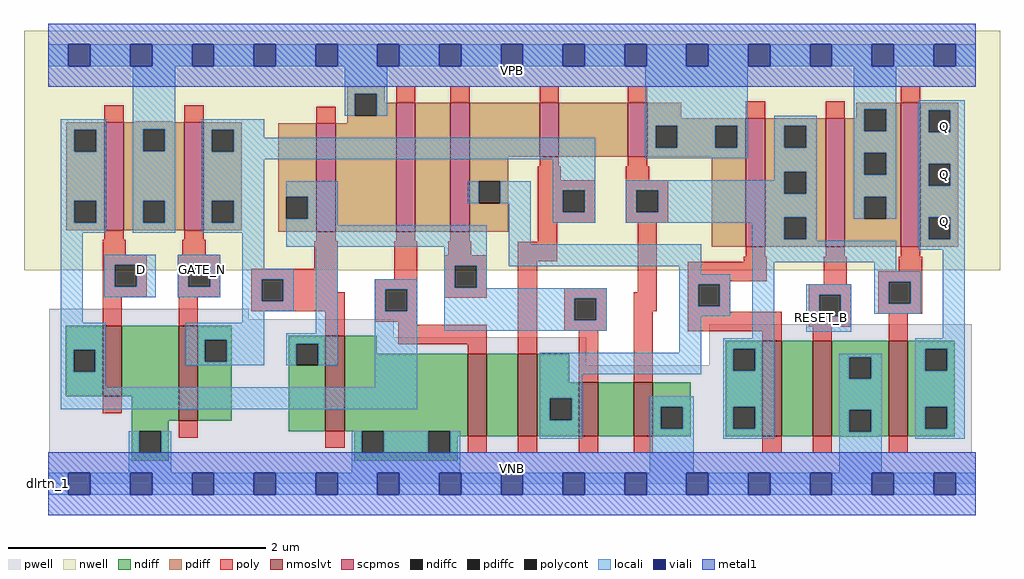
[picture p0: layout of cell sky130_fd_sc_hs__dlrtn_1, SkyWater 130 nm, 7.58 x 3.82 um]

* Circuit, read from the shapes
.subckt sky130_fd_sc_hs__dlrtn_1 D GATE_N RESET_B VGND VNB VPB VPWR Q
XM1 VGND D n1 VNB sky130_fd_pr__nfet_01v8_lvt w=0.55 l=0.15
XM2 n2 GATE_N VGND VNB sky130_fd_pr__nfet_01v8_lvt w=0.74 l=0.15
XM3 VGND n2 n3 VNB sky130_fd_pr__nfet_01v8_lvt w=0.74 l=0.15
XM4 n4 n1 VGND VNB sky130_fd_pr__nfet_01v8_lvt w=0.64 l=0.15
XM5 n5 n2 n4 VNB sky130_fd_pr__nfet_01v8_lvt w=0.64 l=0.15
XM6 n6 n3 n5 VNB sky130_fd_pr__nfet_01v8_lvt w=0.42 l=0.15
XM7 VGND n7 n6 VNB sky130_fd_pr__nfet_01v8_lvt w=0.42 l=0.15
XM8 n8 n5 n7 VNB sky130_fd_pr__nfet_01v8_lvt w=0.74 l=0.15
XM9 VGND RESET_B n8 VNB sky130_fd_pr__nfet_01v8_lvt w=0.74 l=0.15
XM10 Q n7 VGND VNB sky130_fd_pr__nfet_01v8_lvt w=0.74 l=0.15
XM11 VPWR D n1 VPB sky130_fd_pr__pfet_01v8 w=0.84 l=0.15
XM12 n2 GATE_N VPWR VPB sky130_fd_pr__pfet_01v8 w=0.84 l=0.15
XM13 VPWR n2 n3 VPB sky130_fd_pr__pfet_01v8 w=0.84 l=0.15
XM14 n9 n1 VPWR VPB sky130_fd_pr__pfet_01v8 w=1 l=0.15
XM15 n5 n3 n9 VPB sky130_fd_pr__pfet_01v8 w=1 l=0.15
XM16 n10 n2 n5 VPB sky130_fd_pr__pfet_01v8 w=0.42 l=0.15
XM17 VPWR n7 n10 VPB sky130_fd_pr__pfet_01v8 w=0.42 l=0.15
XM18 n7 n5 VPWR VPB sky130_fd_pr__pfet_01v8 w=1 l=0.15
XM19 VPWR RESET_B n7 VPB sky130_fd_pr__pfet_01v8 w=1 l=0.15
XM20 Q n7 VPWR VPB sky130_fd_pr__pfet_01v8 w=1.12 l=0.15
.ends

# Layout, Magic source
magic
tech sky130A
magscale 1 2
<< nwell >>
rect -38 332 1478 704
<< pwell >>
rect 1 256 311 272
rect 1 228 536 256
rect 1 184 835 228
rect 1026 184 1434 248
rect 1 49 1434 184
rect 0 0 1440 49
<< scpmos >>
rect 87 394 117 562
rect 211 394 241 562
rect 416 392 446 560
rect 540 392 570 592
rect 624 392 654 592
rect 763 508 793 592
rect 900 508 930 592
rect 1083 368 1113 568
rect 1207 368 1237 568
rect 1324 368 1354 592
<< nmoslvt >>
rect 84 136 114 246
rect 202 98 232 246
rect 430 82 460 230
rect 651 74 681 202
rect 729 74 759 202
rect 824 74 854 158
rect 909 74 939 158
rect 1109 74 1139 222
rect 1187 74 1217 222
rect 1305 74 1335 222
<< ndiff >>
rect 27 208 84 246
rect 27 174 39 208
rect 73 174 84 208
rect 27 136 84 174
rect 114 136 202 246
rect 129 98 202 136
rect 232 224 285 246
rect 232 190 243 224
rect 277 190 285 224
rect 232 98 285 190
rect 373 218 430 230
rect 373 184 385 218
rect 419 184 430 218
rect 129 82 187 98
rect 129 48 141 82
rect 175 48 187 82
rect 373 82 430 184
rect 460 202 510 230
rect 460 82 651 202
rect 129 36 187 48
rect 475 48 487 82
rect 521 48 590 82
rect 624 74 651 82
rect 681 74 729 202
rect 759 158 809 202
rect 1052 210 1109 222
rect 1052 176 1064 210
rect 1098 176 1109 210
rect 759 133 824 158
rect 759 99 779 133
rect 813 99 824 133
rect 759 74 824 99
rect 854 74 909 158
rect 939 120 998 158
rect 939 86 951 120
rect 985 86 998 120
rect 939 74 998 86
rect 1052 120 1109 176
rect 1052 86 1064 120
rect 1098 86 1109 120
rect 1052 74 1109 86
rect 1139 74 1187 222
rect 1217 197 1305 222
rect 1217 163 1244 197
rect 1278 163 1305 197
rect 1217 115 1305 163
rect 1217 81 1244 115
rect 1278 81 1305 115
rect 1217 74 1305 81
rect 1335 210 1408 222
rect 1335 176 1362 210
rect 1396 176 1408 210
rect 1335 120 1408 176
rect 1335 86 1362 120
rect 1396 86 1408 120
rect 1335 74 1408 86
rect 624 48 636 74
rect 1232 73 1290 74
rect 475 36 636 48
<< pdiff >>
rect 464 606 522 618
rect 135 562 193 563
rect 28 550 87 562
rect 28 516 40 550
rect 74 516 87 550
rect 28 440 87 516
rect 28 406 40 440
rect 74 406 87 440
rect 28 394 87 406
rect 117 551 211 562
rect 117 517 147 551
rect 181 517 211 551
rect 117 440 211 517
rect 117 406 147 440
rect 181 406 211 440
rect 117 394 211 406
rect 241 550 300 562
rect 464 572 476 606
rect 510 592 522 606
rect 510 572 540 592
rect 464 560 540 572
rect 241 516 254 550
rect 288 516 300 550
rect 241 440 300 516
rect 241 406 254 440
rect 288 406 300 440
rect 241 394 300 406
rect 357 446 416 560
rect 357 412 369 446
rect 403 412 416 446
rect 357 392 416 412
rect 446 392 540 560
rect 570 392 624 592
rect 654 508 763 592
rect 793 508 900 592
rect 930 568 983 592
rect 1255 582 1324 592
rect 1255 568 1267 582
rect 930 556 1083 568
rect 930 522 943 556
rect 977 522 1036 556
rect 1070 522 1083 556
rect 930 508 1083 522
rect 654 470 714 508
rect 654 436 668 470
rect 702 436 714 470
rect 654 392 714 436
rect 1030 368 1083 508
rect 1113 556 1207 568
rect 1113 522 1143 556
rect 1177 522 1207 556
rect 1113 485 1207 522
rect 1113 451 1143 485
rect 1177 451 1207 485
rect 1113 414 1207 451
rect 1113 380 1143 414
rect 1177 380 1207 414
rect 1113 368 1207 380
rect 1237 548 1267 568
rect 1301 548 1324 582
rect 1237 514 1324 548
rect 1237 480 1267 514
rect 1301 480 1324 514
rect 1237 446 1324 480
rect 1237 412 1267 446
rect 1301 412 1324 446
rect 1237 368 1324 412
rect 1354 580 1413 592
rect 1354 546 1367 580
rect 1401 546 1413 580
rect 1354 497 1413 546
rect 1354 463 1367 497
rect 1401 463 1413 497
rect 1354 414 1413 463
rect 1354 380 1367 414
rect 1401 380 1413 414
rect 1354 368 1413 380
<< ndiffc >>
rect 39 174 73 208
rect 243 190 277 224
rect 385 184 419 218
rect 141 48 175 82
rect 487 48 521 82
rect 590 48 624 82
rect 1064 176 1098 210
rect 779 99 813 133
rect 951 86 985 120
rect 1064 86 1098 120
rect 1244 163 1278 197
rect 1244 81 1278 115
rect 1362 176 1396 210
rect 1362 86 1396 120
<< pdiffc >>
rect 40 516 74 550
rect 40 406 74 440
rect 147 517 181 551
rect 147 406 181 440
rect 476 572 510 606
rect 254 516 288 550
rect 254 406 288 440
rect 369 412 403 446
rect 943 522 977 556
rect 1036 522 1070 556
rect 668 436 702 470
rect 1143 522 1177 556
rect 1143 451 1177 485
rect 1143 380 1177 414
rect 1267 548 1301 582
rect 1267 480 1301 514
rect 1267 412 1301 446
rect 1367 546 1401 580
rect 1367 463 1401 497
rect 1367 380 1401 414
<< poly >>
rect 87 562 117 588
rect 211 562 241 588
rect 416 560 446 586
rect 540 592 570 618
rect 624 592 654 618
rect 763 592 793 618
rect 900 592 930 618
rect 87 379 117 394
rect 211 379 241 394
rect 1083 568 1113 594
rect 1207 568 1237 594
rect 1324 592 1354 618
rect 763 493 793 508
rect 900 493 930 508
rect 760 472 796 493
rect 897 472 933 493
rect 760 456 849 472
rect 760 422 799 456
rect 833 422 849 456
rect 760 406 849 422
rect 897 456 963 472
rect 897 422 913 456
rect 947 422 963 456
rect 897 406 963 422
rect 84 356 120 379
rect 208 356 244 379
rect 416 377 446 392
rect 540 377 570 392
rect 624 377 654 392
rect 84 340 153 356
rect 84 306 103 340
rect 137 306 153 340
rect 84 290 153 306
rect 201 340 267 356
rect 201 306 217 340
rect 251 306 267 340
rect 413 334 449 377
rect 201 290 267 306
rect 315 318 449 334
rect 537 318 573 377
rect 621 355 657 377
rect 760 376 790 406
rect 84 246 114 290
rect 202 246 232 290
rect 315 284 331 318
rect 365 298 449 318
rect 507 302 573 318
rect 365 284 460 298
rect 315 268 460 284
rect 84 110 114 136
rect 430 230 460 268
rect 507 268 523 302
rect 557 268 573 302
rect 615 339 681 355
rect 615 305 631 339
rect 665 305 681 339
rect 615 289 681 305
rect 729 346 790 376
rect 507 252 573 268
rect 543 247 573 252
rect 202 72 232 98
rect 543 217 681 247
rect 651 202 681 217
rect 729 202 759 346
rect 801 288 867 304
rect 915 298 945 406
rect 1083 353 1113 368
rect 1207 353 1237 368
rect 1324 353 1354 368
rect 1080 345 1116 353
rect 801 254 817 288
rect 851 254 867 288
rect 801 238 867 254
rect 909 268 945 298
rect 993 315 1116 345
rect 993 310 1059 315
rect 1204 310 1240 353
rect 1321 330 1357 353
rect 1289 314 1357 330
rect 993 276 1009 310
rect 1043 276 1059 310
rect 430 56 460 82
rect 824 158 854 238
rect 909 158 939 268
rect 993 267 1059 276
rect 1181 294 1247 310
rect 993 237 1139 267
rect 1181 260 1197 294
rect 1231 260 1247 294
rect 1289 280 1305 314
rect 1339 280 1357 314
rect 1289 264 1357 280
rect 1181 244 1247 260
rect 1109 222 1139 237
rect 1187 222 1217 244
rect 1305 222 1335 264
rect 651 48 681 74
rect 729 48 759 74
rect 824 48 854 74
rect 909 48 939 74
rect 1109 48 1139 74
rect 1187 48 1217 74
rect 1305 48 1335 74
<< polycont >>
rect 799 422 833 456
rect 913 422 947 456
rect 103 306 137 340
rect 217 306 251 340
rect 331 284 365 318
rect 523 268 557 302
rect 631 305 665 339
rect 817 254 851 288
rect 1009 276 1043 310
rect 1197 260 1231 294
rect 1305 280 1339 314
<< locali >>
rect 0 649 31 683
rect 65 649 127 683
rect 161 649 223 683
rect 257 649 319 683
rect 353 649 415 683
rect 449 649 511 683
rect 545 649 607 683
rect 641 649 703 683
rect 737 649 799 683
rect 833 649 895 683
rect 929 649 991 683
rect 1025 649 1087 683
rect 1121 649 1183 683
rect 1217 649 1279 683
rect 1313 649 1375 683
rect 1409 649 1440 683
rect 19 550 90 566
rect 19 516 40 550
rect 74 516 90 550
rect 19 440 90 516
rect 19 406 40 440
rect 74 406 90 440
rect 19 390 90 406
rect 131 551 197 649
rect 460 606 526 649
rect 460 572 476 606
rect 510 572 526 606
rect 131 517 147 551
rect 181 517 197 551
rect 131 440 197 517
rect 131 406 147 440
rect 181 406 197 440
rect 131 390 197 406
rect 238 550 335 566
rect 238 516 254 550
rect 288 538 335 550
rect 927 556 1086 649
rect 1251 582 1317 649
rect 288 516 849 538
rect 238 504 849 516
rect 927 522 943 556
rect 977 522 1036 556
rect 1070 522 1086 556
rect 927 506 1086 522
rect 1127 556 1193 572
rect 1127 522 1143 556
rect 1177 522 1193 556
rect 238 440 335 504
rect 238 406 254 440
rect 288 406 335 440
rect 238 390 335 406
rect 19 250 53 390
rect 87 340 167 356
rect 87 306 103 340
rect 137 306 167 340
rect 87 290 167 306
rect 201 340 267 356
rect 201 306 217 340
rect 251 306 267 340
rect 201 290 267 306
rect 301 334 335 390
rect 369 446 449 470
rect 403 412 449 446
rect 651 436 668 470
rect 702 436 749 470
rect 369 402 449 412
rect 369 368 681 402
rect 301 318 381 334
rect 301 284 331 318
rect 365 284 381 318
rect 301 268 381 284
rect 301 250 335 268
rect 19 208 89 250
rect 19 174 39 208
rect 73 174 89 208
rect 213 224 335 250
rect 415 234 449 368
rect 615 339 681 368
rect 213 190 243 224
rect 277 190 335 224
rect 213 184 335 190
rect 369 218 449 234
rect 369 184 385 218
rect 419 184 449 218
rect 507 302 573 318
rect 507 268 523 302
rect 557 268 573 302
rect 19 150 89 174
rect 507 150 573 268
rect 615 305 631 339
rect 665 305 681 339
rect 715 372 749 436
rect 783 456 849 504
rect 1127 485 1193 522
rect 1127 472 1143 485
rect 783 422 799 456
rect 833 422 849 456
rect 783 406 849 422
rect 897 456 1143 472
rect 897 422 913 456
rect 947 451 1143 456
rect 1177 451 1193 485
rect 947 422 1193 451
rect 897 414 1193 422
rect 897 406 1143 414
rect 1093 380 1143 406
rect 1177 380 1193 414
rect 1251 548 1267 582
rect 1301 548 1317 582
rect 1251 514 1317 548
rect 1251 480 1267 514
rect 1301 480 1317 514
rect 1251 446 1317 480
rect 1251 412 1267 446
rect 1301 412 1317 446
rect 1351 580 1423 596
rect 1351 546 1367 580
rect 1401 546 1423 580
rect 1351 497 1423 546
rect 1351 463 1367 497
rect 1401 463 1423 497
rect 1351 414 1423 463
rect 1093 378 1193 380
rect 1351 380 1367 414
rect 1401 380 1423 414
rect 715 338 1014 372
rect 615 304 681 305
rect 980 326 1014 338
rect 1093 344 1317 378
rect 1351 364 1423 380
rect 980 310 1059 326
rect 615 288 867 304
rect 615 254 817 288
rect 851 254 867 288
rect 615 238 867 254
rect 980 276 1009 310
rect 1043 276 1059 310
rect 980 260 1059 276
rect 980 204 1014 260
rect 1093 226 1127 344
rect 1283 330 1317 344
rect 1283 314 1355 330
rect 1177 294 1247 310
rect 1177 260 1197 294
rect 1231 260 1247 294
rect 1283 280 1305 314
rect 1339 280 1355 314
rect 1283 264 1355 280
rect 1177 236 1247 260
rect 1389 226 1423 364
rect 19 116 573 150
rect 763 170 1014 204
rect 1048 210 1127 226
rect 1048 176 1064 210
rect 1098 176 1127 210
rect 1346 210 1423 226
rect 763 133 829 170
rect 763 99 779 133
rect 813 99 829 133
rect 125 48 141 82
rect 175 48 191 82
rect 125 17 191 48
rect 471 48 487 82
rect 521 48 590 82
rect 624 48 640 82
rect 763 70 829 99
rect 934 120 1002 136
rect 934 86 951 120
rect 985 86 1002 120
rect 471 17 640 48
rect 934 17 1002 86
rect 1048 120 1127 176
rect 1048 86 1064 120
rect 1098 86 1127 120
rect 1048 70 1127 86
rect 1228 197 1294 202
rect 1228 163 1244 197
rect 1278 163 1294 197
rect 1228 115 1294 163
rect 1228 81 1244 115
rect 1278 81 1294 115
rect 1228 17 1294 81
rect 1346 176 1362 210
rect 1396 176 1423 210
rect 1346 120 1423 176
rect 1346 86 1362 120
rect 1396 86 1423 120
rect 1346 70 1423 86
rect 0 -17 31 17
rect 65 -17 127 17
rect 161 -17 223 17
rect 257 -17 319 17
rect 353 -17 415 17
rect 449 -17 511 17
rect 545 -17 607 17
rect 641 -17 703 17
rect 737 -17 799 17
rect 833 -17 895 17
rect 929 -17 991 17
rect 1025 -17 1087 17
rect 1121 -17 1183 17
rect 1217 -17 1279 17
rect 1313 -17 1375 17
rect 1409 -17 1440 17
<< viali >>
rect 31 649 65 683
rect 127 649 161 683
rect 223 649 257 683
rect 319 649 353 683
rect 415 649 449 683
rect 511 649 545 683
rect 607 649 641 683
rect 703 649 737 683
rect 799 649 833 683
rect 895 649 929 683
rect 991 649 1025 683
rect 1087 649 1121 683
rect 1183 649 1217 683
rect 1279 649 1313 683
rect 1375 649 1409 683
rect 31 -17 65 17
rect 127 -17 161 17
rect 223 -17 257 17
rect 319 -17 353 17
rect 415 -17 449 17
rect 511 -17 545 17
rect 607 -17 641 17
rect 703 -17 737 17
rect 799 -17 833 17
rect 895 -17 929 17
rect 991 -17 1025 17
rect 1087 -17 1121 17
rect 1183 -17 1217 17
rect 1279 -17 1313 17
rect 1375 -17 1409 17
<< metal1 >>
rect 0 683 1440 715
rect 0 649 31 683
rect 65 649 127 683
rect 161 649 223 683
rect 257 649 319 683
rect 353 649 415 683
rect 449 649 511 683
rect 545 649 607 683
rect 641 649 703 683
rect 737 649 799 683
rect 833 649 895 683
rect 929 649 991 683
rect 1025 649 1087 683
rect 1121 649 1183 683
rect 1217 649 1279 683
rect 1313 649 1375 683
rect 1409 649 1440 683
rect 0 617 1440 649
rect 0 17 1440 49
rect 0 -17 31 17
rect 65 -17 127 17
rect 161 -17 223 17
rect 257 -17 319 17
rect 353 -17 415 17
rect 449 -17 511 17
rect 545 -17 607 17
rect 641 -17 703 17
rect 737 -17 799 17
rect 833 -17 895 17
rect 929 -17 991 17
rect 1025 -17 1087 17
rect 1121 -17 1183 17
rect 1217 -17 1279 17
rect 1313 -17 1375 17
rect 1409 -17 1440 17
rect 0 -49 1440 -17
<< labels >>
rlabel comment s 0 0 0 0 4 dlrtn_1
flabel pwell s 0 0 1440 49 0 FreeSans 200 0 0 0 VNB
port 5 nsew ground bidirectional
flabel nwell s 0 617 1440 666 0 FreeSans 200 0 0 0 VPB
port 6 nsew power bidirectional
flabel metal1 s 0 617 1440 666 0 FreeSans 340 0 0 0 VPWR
port 7 nsew power bidirectional
flabel metal1 s 0 0 1440 49 0 FreeSans 340 0 0 0 VGND
port 4 nsew ground bidirectional
flabel locali s 127 316 161 350 0 FreeSans 340 0 0 0 D
port 1 nsew signal input
flabel locali s 223 316 257 350 0 FreeSans 340 0 0 0 GATE_N
port 2 nsew clock input
flabel locali s 1183 242 1217 276 0 FreeSans 340 0 0 0 RESET_B
port 3 nsew signal input
flabel locali s 1375 390 1409 424 0 FreeSans 340 0 0 0 Q
port 8 nsew signal output
flabel locali s 1375 464 1409 498 0 FreeSans 340 0 0 0 Q
port 8 nsew signal output
flabel locali s 1375 538 1409 572 0 FreeSans 340 0 0 0 Q
port 8 nsew signal output
<< properties >>
string LEFsite unit
string LEFclass CORE
string FIXED_BBOX 0 0 1440 666
string GDS_FILE $PDKPATH/libs.ref/sky130_fd_sc_hs/gds/sky130_fd_sc_hs.gds
string LEFsymmetry X Y
string GDS_END 1627904
string GDS_START 1616932
<< end >>
